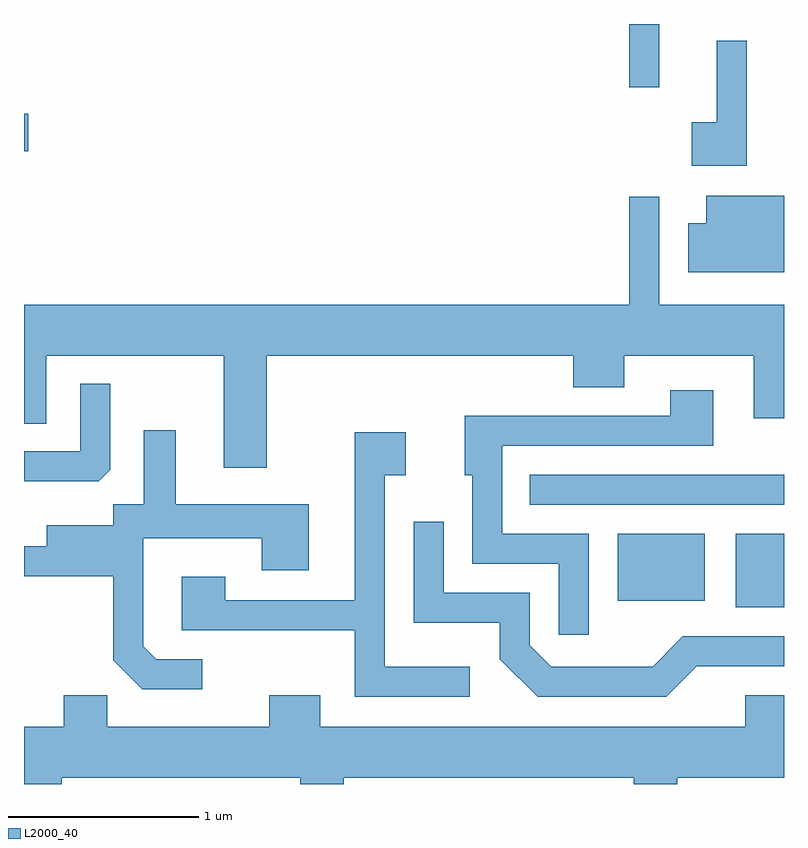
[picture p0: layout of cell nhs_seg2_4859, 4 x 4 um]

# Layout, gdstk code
import gdstk
lib = gdstk.Library(unit=1e-6, precision=1e-09)
def R(c, l, rs):  # rectangles x0, y0, x1, y1
    for r in rs: c.add(gdstk.rectangle(r[:2], r[2:], *l))
def P(c, l, *ps):  # polygons
    for p in ps: c.add(gdstk.Polygon(p, *l))
L2000_40 = (2000, 40)

nhs_seg2_4859 = lib.new_cell('nhs_seg2_4859')
R(nhs_seg2_4859, L2000_40, [(331.356,1084.731,331.611,1085.119), (330.736,1084.766,331.194,1085.119), (330.273,1085.271,331.611,1085.429), (327.611,1087.131,327.634,1087.329), (330.796,1087.468,330.954,1087.802)])
P(nhs_seg2_4859, L2000_40, [(331.414,1087.713),(331.256,1087.713),(331.256,1087.284),(331.126,1087.284),(331.126,1087.056),(331.414,1087.056)],
  [(331.611,1086.899),(331.201,1086.899),(331.201,1086.754),(331.106,1086.754),(331.106,1086.496),(331.611,1086.496)],
  [(328.889,1086.056),(330.501,1086.056),(330.501,1085.891),(330.769,1085.891),(330.769,1086.056),(331.451,1086.056),(331.451,1085.726),(331.611,1085.726),(331.611,1086.324),(330.954,1086.324),(330.954,1086.893),(330.796,1086.893),(330.796,1086.324),(327.611,1086.324),(327.611,1085.698),(327.729,1085.698),(327.729,1086.056),(328.661,1086.056),(328.661,1085.466),(328.889,1085.466)],
  [(328.064,1085.457),(328.064,1085.908),(327.906,1085.908),(327.906,1085.554),(327.611,1085.554),(327.611,1085.396),(328.004,1085.396)],
  [(330.584,1085.119),(330.129,1085.119),(330.129,1085.581),(331.239,1085.581),(331.239,1085.874),(331.011,1085.874),(331.011,1085.739),(329.931,1085.739),(329.931,1085.426),(329.971,1085.426),(329.971,1084.961),(330.426,1084.961),(330.426,1084.588),(330.584,1084.588)],
  [(328.548,1084.459),(328.307,1084.459),(328.239,1084.527),(328.239,1085.096),(328.861,1085.096),(328.861,1084.926),(329.109,1084.926),(329.109,1085.274),(328.409,1085.274),(328.409,1085.663),(328.241,1085.663),(328.241,1085.274),(328.081,1085.274),(328.081,1085.164),(327.731,1085.164),(327.731,1085.054),(327.611,1085.054),(327.611,1084.896),(328.081,1084.896),(328.081,1084.454),(328.234,1084.301),(328.548,1084.301)],
  [(329.958,1084.419),(329.509,1084.419),(329.509,1085.426),(329.619,1085.426),(329.619,1085.654),(329.351,1085.654),(329.351,1084.769),(328.669,1084.769),(328.669,1084.894),(328.441,1084.894),(328.441,1084.611),(329.351,1084.611),(329.351,1084.261),(329.958,1084.261)],
  [(331.152,1084.421),(331.611,1084.421),(331.611,1084.579),(331.079,1084.579),(330.919,1084.419),(330.387,1084.419),(330.274,1084.532),(330.274,1084.809),(329.819,1084.809),(329.819,1085.183),(329.661,1085.183),(329.661,1084.651),(330.116,1084.651),(330.116,1084.459),(330.314,1084.261),(330.992,1084.261)],
  [(327.809,1083.836),(329.066,1083.836),(329.066,1083.802),(329.294,1083.802),(329.294,1083.836),(330.821,1083.836),(330.821,1083.802),(331.049,1083.802),(331.049,1083.836),(331.611,1083.836),(331.611,1084.269),(331.406,1084.269),(331.406,1084.104),(329.169,1084.104),(329.169,1084.269),(328.901,1084.269),(328.901,1084.104),(328.049,1084.104),(328.049,1084.269),(327.821,1084.269),(327.821,1084.104),(327.611,1084.104),(327.611,1083.802),(327.809,1083.802)])

lib.write_gds('nhs_seg2_4859.gds')
